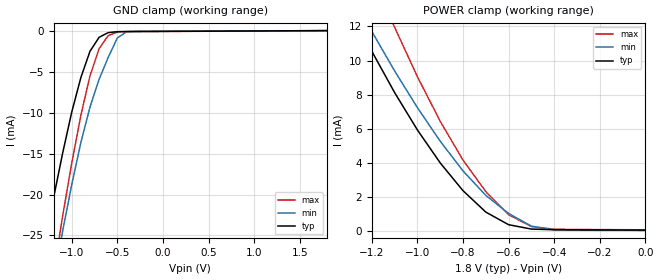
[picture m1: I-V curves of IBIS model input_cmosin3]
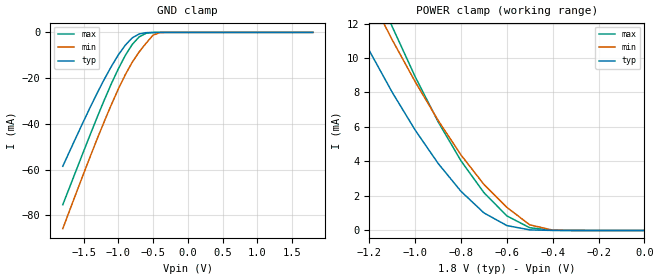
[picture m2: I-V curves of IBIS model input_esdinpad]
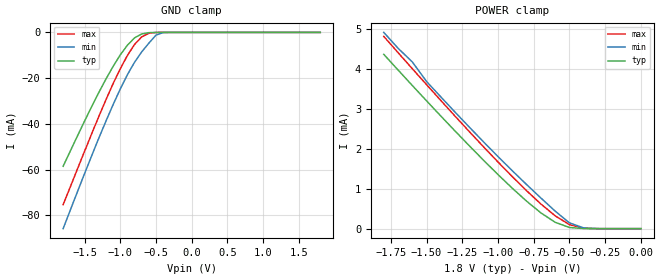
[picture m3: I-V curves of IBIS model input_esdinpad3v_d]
[IBIS ver]   2.1
[File name]   k8999.ibs
[File Rev]   0.1
[Date]   3/14/2006
[Source]   Made By 0.18um TSMC HSPICE model.
[Notes]		 Pass Golden Parser ibischk4
[Disclaimer]   This information is for modeling purposes only and is not
   guaranteed.
[Copyright]   Copyright 2006, Micrel - Kendin, All Rights Reserved.
|   Component k8999
[Component]   k8999
[Manufacturer]   TSMC
[Package]
| variable   typ   min   max
R_pkg   0.036   0.0258   0.047
L_pkg   5.54nH   3.43nH   7.66nH
C_pkg   0.81pF   0.516pF   1.1pF
| Note: 208 pin. |
[Pin]   signal_name   model_name   R_pin  L_pin  C_pin
  1   VDDrx2   POWER
  2   VSSrx2   GND
  3   VSSrx3   GND
  4   VDDrx3   POWER
  5   RX3P   input_rxtxpad_D
  6   RX3M   input_rxtxpadM_E
  7   AOUT2   input_esdinpad
  8   DOUT2   output_o8
  9   TX3P   input_rxtxpad_D
 10   TX3M   input_rxtxpadM_E
 11   QH5   input_iocellmx_999
 12   QH4   input_iocellmx_999
 13   QH3   input_iocellmx_999
 14   QH2   input_iocellmx_999
 15   VSStx3   GND
 16   VDDtx3   POWER
 17   VDDtx4   POWER
 18   RESERVE   NC
 19   TX4P   input_rxtxpad_D
 20   TX4M   input_rxtxpadM_E
 21   VSStx4   GND
 22   RX4P   input_rxtxpad_D
 23   RX4M   input_rxtxpadM_E
 24   VSSrx4   GND
 25   VDDrx4   POWER
 26   ISET   input_esdpad
 27   VSSiso   GND
 28   VDDrx5   POWER
 29   VSSrx5   GND
 30   RX5P   input_rxtxpad_D
 31   RX5M   input_rxtxpadM_E
 32   VSStx5   GND
 33   TX5P   input_rxtxpad_D
 34   TX5M   input_rxtxpadM_E
 35   RESERVE   NC
 36   VDDtx5   POWER
 37   VDDtx6   POWER
 38   VSStx6   GND
 39   QL2   input_iocellmx_999
 40   QL3   input_iocellmx_999
 41   QL4   input_iocellmx_999
 42   QL5   input_iocellmx_999
 43   TXP6   input_rxtxpad_D
 44   TXM6   input_rxtxpadM_E
 45   DOUT   output_o8
 46   AOUT   input_esdinpad
 47   RX6P   input_rxtxpad_D
 48   RX6M   input_rxtxpadM_E
 49   VDDrx6   POWER
 50   VSSrx6   GND
 51   VSSrx7   GND
 52   VDDrx7   POWER
 53   VSSiso   GND
 54   RX7P   input_rxtxpad_D
 55   RX7M   input_rxtxpadM_E
 56   VSStx7   GND
 57   TX7P   input_rxtxpad_D
 58   TX7M   input_rxtxpadM_E
 59   VDDtx7   POWER
 60   VDDtx8   POWER
 61   TX8P   input_rxtxpad_D
 62   TX8M   input_rxtxpadM_E
 63   VSStx8   GND
 64   RX8P   input_rxtxpad_D
 65   RX8M   input_rxtxpadM_E
 66   VSSrx8   GND
 67   VDDrx8   POWER
 68   FXSD5   input_rxtxpad_D
 69   FXSD6   input_rxtxpad_D
 70   FXSD7   input_rxtxpad_D
 71   FXSD8   input_rxtxpad_D
 72   VSSrcv5   GND
 73   VSSrcv6   GND
 74   VDDrcv5   POWER
 75   VDDrcv6   POWER
 76   VSSrcv7   GND
 77   VSSrcv8   GND
 78   VDDrcv7   POWER
 79   VDDrcv8   POWER
 80   BOUT2   output_o8
 81   COUT2   output_o8
 82   RLBK   input_cmosin3
 83   MUX1   input_cmosin3
 84   MUX2   input_cmosin3
 85   TEST1   input_cmosin3
 86   TEST2   input_cmosin3
 87   TEST3   input_cmosin3
 88   T1   input_ttlin_pullup
 89   T2   input_ttlin
 90   T3   input_ttlin
 91   EN1P   input_pddsdgz
 92   SDA   tri_pdu08dgz
 93   SCL   tri_pdu08dgz
 94   VDD   POWER
 95   VSS   GND
 96   MTXEN   input_pddsdgz
 97   MTXD3   input_pddsdgz
 98   MTXD2   input_pddsdgz
 99   MTXD1   input_pddsdgz
100   MTXD0   input_pddsdgz
101   MTXER   input_pddsdgz
102   MTXC   tri_pdu08dgz
103   MCOL   tri_pdd08dgz
104   MCRS   tri_pdd08dgz
105   VDD2   POWER
106   VSS   GND
107   VSS   GND
108   VDD   POWER
109   BIST   input_pdddgz
110   RST_N   input_pd_rst_n
111   LED1_3   tri_pru08dgz
112   LED1_2   tri_pru08dgz
113   LED1_1   tri_pru08dgz
114   LED1_0   tri_pru08dgz
115   LED2_3   tri_pru08dgz
116   LED2_2   tri_pru08dgz
117   LED2_1   tri_pru08dgz
118   LED2_0   tri_pru08dgz
119   MRXDV   tri_pdd08dgz
120   MRXD3   tri_pdu08dgz
121   MRXD2   tri_pdu08dgz
122   MRXD1   tri_pdu08dgz
123   MRXD0   tri_pdu08dgz
124   MRXC   tri_pdu08dgz
125   VDD2   POWER
126   VSS   GND
127   LED3_3   tri_pru08dgz
128   LED3_2   tri_pru08dgz
129   LED3_1   tri_pru08dgz
130   LED3_0   tri_pru08dgz
131   LED4_3   tri_pru08dgz
132   LED4_2   tri_pru08dgz
133   LED4_1   tri_pru08dgz
134   LED4_0   tri_pru08dgz
135   VDD   POWER
136   VSS   GND
137   LED5_3   tri_pru08dgz
138   LED5_2   tri_pru08dgz
139   LED5_1   tri_pru08dgz
140   LED5_0   tri_pru08dgz
141   LED6_3   tri_pru08dgz
142   LED6_2   tri_pru08dgz
143   LED6_1   tri_pru08dgz
144   LED6_0   tri_pru08dgz
145   LED7_3   tri_pru08dgz
146   LED7_2   tri_pru08dgz
147   LED7_1   tri_pru08dgz
148   VDD2   POWER
149   LED7_0   tri_pru08dgz
150   LED8_3   tri_pru08dgz
151   LED8_2   tri_pru08dgz
152   LED8_1   tri_pru08dgz
153   LED8_0   tri_pru08dgz
154   VSS   GND
155   VSS   GND
156   SWM   tri_pru08dgz
157   VDD   POWER
158   LED9_3   tri_pru08dgz
159   LED9_2   tri_pru08dgz
160   LED9_1   tri_pru08dgz
161   LED9_0   tri_pru08dgz
162   MIIS1   input_pdddgz
163   MIIS0   input_pdddgz
164   MODESEL3   input_pdddgz
165   MODESEL2   input_pdddgz
166   MODESEL1   input_pdddgz
167   MODESEL0   input_pdddgz
168   TESTEN   input_pdddgz
169   SCANEN   input_pdddgz
170   PRSV   input_pddsdgz
171   CFGMODE   tri_pdu08dgz
172   T5   input_cmosin3
173   T4   input_ttlin
174   CLKMODE   input_ttlin_pullup
175   EXTCLK   input_ttlin
176   X1   input_esdinpad3v_d
177   X2   input_esdinpad3v_d
178   VDDpll   POWER
179   VSSpll   GND
180   COUT   output_o8
181   BOUT   output_o8
182   VDD   POWER
183   VDD   POWER
184   VSS   GND
185   VSS   GND
186   VDD   POWER
187   VDD   POWER
188   VSS   GND
189   VSS   GND
190   FXSD1   input_rxinpad_D
191   FXSD2   input_rxinpad_D
192   FXSD3   input_rxinpad_D
193   FXSD4   input_rxinpad_D
194   VDDrx1   POWER
195   VSSrx1   GND
196   RX1P   input_rxtxpad_D
197   RX1M   input_rxtxpadM_E
198   VSStx1   GND
199   TX1P   input_rxtxpad_D
200   TX1M   input_rxtxpadM_E
201   VDDtx1   POWER
202   VDDtx2   POWER
203   TX2P   input_rxtxpad_D
204   TX2M   input_rxtxpadM_E
205   VSStx2   GND
206   RX2P   input_rxtxpad_D
207   RX2M   input_rxtxpadM_E
208   VSSiso   GND
| Models and submodels in the file (17): input_cmosin3 (Input), input_esdinpad (Input), input_esdinpad3v_d (Input), input_esdpad (Input), input_iocellmx_999 (Input), input_rxtxpadM_E (Input), input_rxtxpad_D (Input), input_ttlin (Input), input_ttlin_pullup (Input), output_o8 (Output), input_rxinpad_D (Input), input_pdddgz (Input), input_pddsdgz (Input), tri_pdd08dgz (I/O), tri_pdu08dgz (I/O), tri_pru08dgz (I/O), input_pd_rst_n (Input)
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|   Model input_cmosin3
[Model]   input_cmosin3
Model_type   Input
Polarity   Non-Inverting
Vinl =   0.8V
Vinh =   2.0V
C_comp   1.52e-12F   1.59e-12F   1.48e-12F
[Temperature Range]   25   125   0
[Voltage Range]   1.80V   1.62V   1.98V
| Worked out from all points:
|   GND clamp passes 1 mA (typ) near -0.71 V on its own axis
|   POWER clamp passes 1 mA (typ) near -0.69 V on its own axis
[POWER_clamp]
| voltage   I(typ)   I(min)   I(max)
-1.8V     28.53mA    31.53mA    37.5mA
-1.3V     13.16mA    14.16mA    18.45mA
-1.2V     10.54mA    11.7mA     15.09mA
-1.1V     8.117mA    9.386mA    11.95mA
-1V       5.923mA    7.232mA    9.045mA
-900mV    3.99mA     5.263mA    6.429mA
-800mV    2.361mA    3.522mA    4.152mA
-700mV    1.106mA    2.085mA    2.305mA
-600mV    366.9uA    1.026mA    950.9uA
-500mV    111.2uA    283.6uA    256.4uA
-400mV    73.82uA    61.73uA    103.6uA
0V        50.24uA    30.49uA    67.89uA
[GND_clamp]
| voltage   I(typ)   I(min)   I(max)
-1.8V     -58.6mA    -71.02mA   -75.64mA
-1.3V     -26.33mA   -36.93mA   -36.98mA
-1.2V     -20.44mA   -30.58mA   -29.65mA
-1.1V     -14.94mA   -24.48mA   -22.62mA
-1V       -9.906mA   -18.77mA   -16.14mA
-900mV    -5.686mA   -13.63mA   -10.3mA
-800mV    -2.474mA   -9.297mA   -5.473mA
-700mV    -765.4uA   -5.897mA   -2.15mA
-600mV    -193.5uA   -3.217mA   -556uA
-500mV    -78.67uA   -847.7uA   -133.8uA
-400mV    -60.38uA   -89.6uA    -78.04uA
1.8V      50.24uA    37.65uA    56.52uA
|   Model input_esdinpad
[Model]   input_esdinpad
Model_type   Input
Polarity   Non-Inverting
Vinl =   0.8V
Vinh =   2.0V
C_comp   1.88e-12F   2.12e-12F   1.75e-12F
[Temperature Range]   25   125   0
[Voltage Range]   1.80V   1.62V   1.98V
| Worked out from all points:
|   GND clamp passes 1 mA (typ) near -0.72 V on its own axis
|   POWER clamp passes 1 mA (typ) near -0.70 V on its own axis
[POWER_clamp]
| voltage   I(typ)   I(min)   I(max)
-1.8V     28.38mA    32.28mA    37.32mA
-1.3V     13.04mA    16.36mA    18.3mA
-1.2V     10.42mA    13.63mA    14.95mA
-1.1V     8.008mA    11.05mA    11.81mA
-1V       5.819mA    8.624mA    8.915mA
-900mV    3.891mA    6.385mA    6.306mA
-800mV    2.268mA    4.375mA    4.035mA
-700mV    1.018mA    2.668mA    2.194mA
-600mV    284.6uA    1.34mA     845.6uA
-500mV    34.16uA    326.9uA    157.2uA
-400mV    2.214uA    20.14uA    10.56uA
0V        54.68pA    1.063nA    60.45pA
[GND_clamp]
| voltage   I(typ)   I(min)   I(max)
-1.8V     -58.51mA   -85.78mA   -75.31mA
-1.4V     -32.41mA   -53.88mA   -44.27mA
-1.2V     -20.36mA   -38.74mA   -29.4mA
-1V       -9.824mA   -24.73mA   -15.91mA
-900mV    -5.603mA   -18.49mA   -10.07mA
-800mV    -2.387mA   -13.04mA   -5.262mA
-700mV    -676.6uA   -8.525mA   -1.955mA
-600mV    -109.3uA   -4.71mA    -395.5uA
-500mV    -12.27uA   -1.196mA   -44.09uA
-400mV    -952.5nA   -67.63uA   -3.186uA
-300mV    -55.96nA   -3.959uA   -149.4nA
1.8V      54.68pA    46.72nA    49.58pA
|   Model input_esdinpad3v_d
[Model]   input_esdinpad3v_d
Model_type   Input
Polarity   Non-Inverting
Vinl =   0.8V
Vinh =   2.0V
C_comp   1.88e-12F   2.09e-12F   1.75e-12F
[Temperature Range]   25   125   0
[Voltage Range]   1.80V   1.62V   1.98V
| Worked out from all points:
|   GND clamp passes 1 mA (typ) near -0.72 V on its own axis
|   POWER clamp passes 1 mA (typ) near -0.90 V on its own axis
[POWER_clamp]
| voltage   I(typ)   I(min)   I(max)
-1.8V     4.372mA    4.921mA    4.822mA
-1.7V     3.979mA    4.525mA    4.415mA
-1.6V     3.59mA     4.18mA     4.011mA
-1.5V     3.204mA    3.689mA    3.609mA
-1.1V     1.71mA     2.171mA    2.046mA
-900mV    1.013mA    1.452mA    1.304mA
-800mV    689.2uA    1.106mA    950.9uA
-700mV    395.9uA    768.6uA    618.5uA
-600mV    159.3uA    439.4uA    321.9uA
-500mV    29.43uA    144.8uA    99.11uA
-400mV    2.186uA    18.22uA    9.926uA
0V        54.73pA    1.063nA    60.42pA
[GND_clamp]
| voltage   I(typ)   I(min)   I(max)
-1.8V     -58.51mA   -85.78mA   -75.31mA
-1.4V     -32.41mA   -53.88mA   -44.27mA
-1.2V     -20.36mA   -38.74mA   -29.4mA
-1V       -9.824mA   -24.73mA   -15.91mA
-900mV    -5.603mA   -18.49mA   -10.07mA
-800mV    -2.387mA   -13.04mA   -5.262mA
-700mV    -676.6uA   -8.525mA   -1.955mA
-600mV    -109.3uA   -4.71mA    -395.5uA
-500mV    -12.27uA   -1.196mA   -44.09uA
-400mV    -952.5nA   -67.63uA   -3.186uA
-300mV    -55.96nA   -3.959uA   -149.4nA
1.8V      54.73pA    46.71nA    49.55pA
